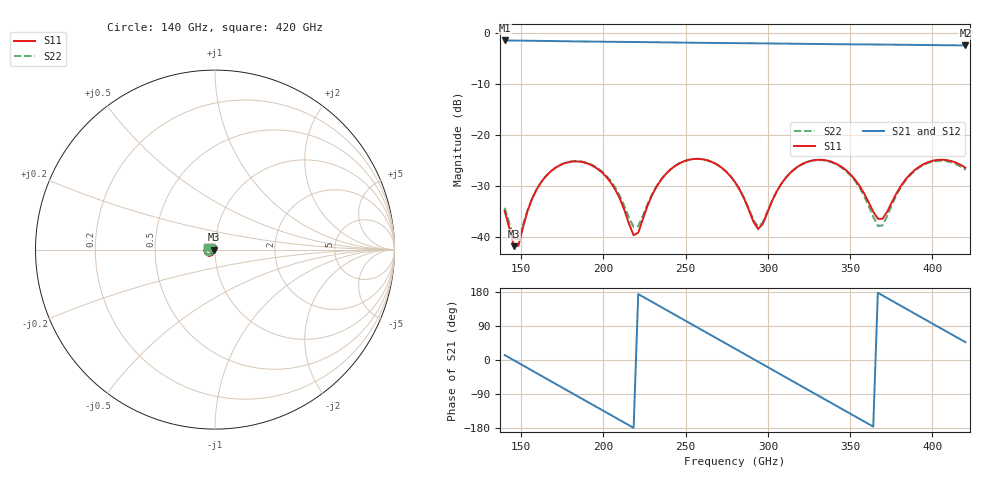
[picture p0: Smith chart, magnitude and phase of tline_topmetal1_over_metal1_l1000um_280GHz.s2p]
#  GHZ S DB R 50
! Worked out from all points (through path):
!   101 points, 140 GHz to 420 GHz, reference 50 ohm
!   highest |S21| = -1.54 dB at 140 GHz (marker M1); lowest = -2.5 dB at 420 GHz (marker M2)
!   group delay of S21, straight-line fit = 6.81 ps
!   lowest |S11| = -41.7 dB at 145.6 GHz (marker M3), VSWR 1.02, Z = 49.2 + j0.00691 ohm
!   |S11| at or under -10 dB: start of sweep to end of sweep
!   |S22| runs from -40.4 to -24.7 dB; largest |S21 - S12| = 1.5e-13
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140  -34.82 150.8  -1.54 13.1  -1.54 13.1  -34.24 154.5
145.6  -41.73 179.5  -1.56 -0.6  -1.56 -0.6  -40.14 -179.6
148.4  -41.64 -139.1  -1.57 -7.5  -1.57 -7.5  -40.43 -145.5
156.8  -32.39 -112.0  -1.61 -28.2  -1.61 -28.2  -32.35 -115.1
165.2  -28.02 -124.4  -1.64 -48.8  -1.64 -48.8  -28.01 -125.6
176.4  -25.53 -147.2  -1.70 -76.3  -1.70 -76.3  -25.50 -147.3
187.6  -25.32 -171.0  -1.74 -103.7  -1.74 -103.7  -25.23 -170.3
204.4  -29.25 157.8  -1.80 -144.8  -1.80 -144.8  -28.98 160.1
218.4  -39.59 -174.2  -1.85 -179.2  -1.85 -179.2  -37.96 -174.9
235.2  -28.71 -125.9  -1.91 139.6  -1.91 139.6  -28.67 -129.1
257.6  -24.67 -168.1  -2.00 84.7  -2.00 84.7  -24.66 -169.3
280  -29.23 152.3  -2.07 29.9  -2.07 29.9  -29.16 152.0
294  -38.37 -173.1  -2.11 -4.4  -2.11 -4.4  -37.95 -174.7
310.8  -28.39 -134.6  -2.16 -45.6  -2.16 -45.6  -28.40 -136.6
327.6  -24.95 -163.6  -2.23 -86.7  -2.23 -86.7  -24.99 -165.5
338.8  -25.26 175.4  -2.26 -114.1  -2.26 -114.1  -25.35 173.0
352.8  -28.67 154.0  -2.30 -148.4  -2.30 -148.4  -28.91 150.4
366.8  -36.37 177.3  -2.34 177.3  -2.34 177.3  -37.75 175.4
375.2  -33.21 -140.5  -2.36 156.7  -2.36 156.7  -33.72 -136.6
386.4  -27.70 -142.7  -2.40 129.3  -2.40 129.3  -27.83 -141.4
397.6  -25.29 -160.1  -2.44 101.9  -2.44 101.9  -25.42 -160.4
420  -26.42 161.8  -2.51 47.1  -2.51 47.1  -26.84 157.8
